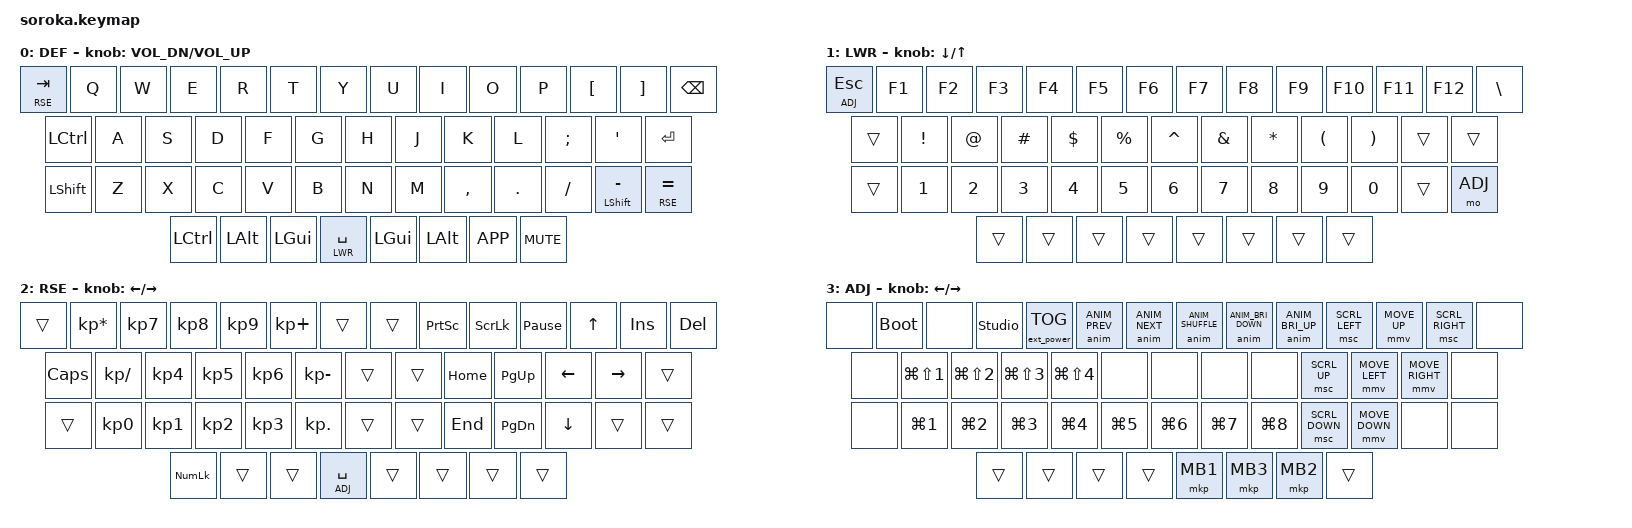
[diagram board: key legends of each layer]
/*
 * Copyright (c) 2020 The ZMK Contributors
 *
 * SPDX-License-Identifier: MIT
 */

#define ZMK_POINTING_DEFAULT_MOVE_VAL 1500  // default: 600
#define ZMK_POINTING_DEFAULT_SCRL_VAL 20    // default: 10

#include <behaviors.dtsi>
#include <dt-bindings/zmk/ext_power.h>
#include <dt-bindings/zmk/keys.h>
#include <dt-bindings/zmk/pointing.h>
#include <dt-bindings/soroka/anim.h>

#define DEF 0
#define LWR 1
#define RSE 2
#define ADJ 3

&lt {
    quick-tap-ms = <200>;
};

&mt {
    quick-tap-ms = <200>;
};

&mmv {
    time-to-max-speed-ms = <1000>;
};

&msc {
    time-to-max-speed-ms = <600>;
};

/ {
    chosen {
        zmk,physical-layout = &default_layout;
    };
};

/ {

    keymap {
        compatible = "zmk,keymap";

        default_layer {
            display-name = "DEF";
//┏━━━━━━━━━━━┳━━━━━━━┳━━━━━━━┳━━━━━━━┳━━━━━━━┳━━━━━━━┳━━━━━━━┳━━━━━━━┳━━━━━━━┳━━━━━━━┳━━━━━━━┳━━━━━━━┳━━━━━━━┳━━━━━━━┓
//┃  RS/TAB   ┃   Q   ┃   W   ┃   E   ┃   R   ┃   T   ┃   Y   ┃   U   ┃   I   ┃   O   ┃   P   ┃   [   ┃   ]   ┃ BSPC  ┃
//┣━━━━━━━━━━━┻━┳━━━━━┻━┳━━━━━┻━┳━━━━━┻━┳━━━━━┻━┳━━━━━┻━┳━━━━━┻━┳━━━━━┻━┳━━━━━┻━┳━━━━━┻━┳━━━━━┻━┳━━━━━┻━┳━━━━━┻━━━━━━━┫
//┃    CTRL     ┃   A   ┃   S   ┃   D   ┃   F   ┃   G   ┃   H   ┃   J   ┃   K   ┃   L   ┃   ;   ┃   '   ┃    ENTER    ┃
//┣━━━━━━━━━━━━━┻━━━┳━━━┻━━━┳━━━┻━━━┳━━━┻━━━┳━━━┻━━━┳━━━┻━━━┳━━━┻━━━┳━━━┻━━━┳━━━┻━━━┳━━━┻━━━┳━━━┻━━━┳━━━┻━━━━━┳━━━━━━━┫
//┃      SHIFT      ┃   Z   ┃   X   ┃   C   ┃   V   ┃   B   ┃   N   ┃   M   ┃   ,   ┃   .   ┃   /   ┃  SH/-   ┃ RS/=  ┃
//┣━━━━━━━━━┳━━━━━━━┻━┳━━━━━┻━━━┳━━━┻━━━━━━━┻━━━━━━━┻━━━━━━━┻━━━━━━━┻━━━━━━━┻━━━━━━━┻━━━┳━━━┻━━━━━┳━┻━━━━━━━┳━┻━━━━━━━┫   ┏━━━━━━━┓
//┃  CTRL   ┃   ALT   ┃   GUI   ┃                        LW/SPC                         ┃   GUI   ┃   ALT   ┃  MENU   ┃   ┃ MUTE  ┃
//┗━━━━━━━━━┻━━━━━━━━━┻━━━━━━━━━┻━━━━━━━━━━━━━━━━━━━━━━━━━━━━━━━━━━━━━━━━━━━━━━━━━━━━━━━┻━━━━━━━━━┻━━━━━━━━━┻━━━━━━━━━┛   ┗━━━━━━━┛

            bindings = <

                &lt RSE TAB &kp Q &kp W &kp E &kp R &kp T &kp Y &kp U &kp I &kp O &kp P &kp LBKT &kp RBKT &kp BSPC
                &kp LCTRL &kp A &kp S &kp D &kp F &kp G &kp H &kp J &kp K &kp L &kp SCLN &kp QUOT &kp ENTER
                &kp LSHFT &kp Z &kp X &kp C &kp V &kp B &kp N &kp M &kp COMMA &kp DOT &kp FSLH &mt LSHFT MINUS &lt RSE EQUAL
                &kp LCTRL &kp LALT &kp LGUI &lt LWR SPACE &kp LGUI &kp LALT &kp K_APP &kp C_MUTE
            >;
            sensor-bindings = <&inc_dec_kp C_VOL_DN C_VOL_UP>;
        };

        lower_layer {
            display-name = "LWR";
//┏━━━━━━━━━━━┳━━━━━━━┳━━━━━━━┳━━━━━━━┳━━━━━━━┳━━━━━━━┳━━━━━━━┳━━━━━━━┳━━━━━━━┳━━━━━━━┳━━━━━━━┳━━━━━━━┳━━━━━━━┳━━━━━━━┓
//┃  AD/ESC   ┃  F1   ┃  F2   ┃  F3   ┃  F4   ┃  F5   ┃  F6   ┃  F7   ┃  F8   ┃  F9   ┃  F10  ┃  F11  ┃  F12  ┃   \   ┃
//┣━━━━━━━━━━━┻━┳━━━━━┻━┳━━━━━┻━┳━━━━━┻━┳━━━━━┻━┳━━━━━┻━┳━━━━━┻━┳━━━━━┻━┳━━━━━┻━┳━━━━━┻━┳━━━━━┻━┳━━━━━┻━┳━━━━━┻━━━━━━━┫
//┃    -//-     ┃   !   ┃   @   ┃   #   ┃   $   ┃   %   ┃   ^   ┃   &   ┃   *   ┃   (   ┃   )   ┃ -//-  ┃    -//-     ┃
//┣━━━━━━━━━━━━━┻━━━┳━━━┻━━━┳━━━┻━━━┳━━━┻━━━┳━━━┻━━━┳━━━┻━━━┳━━━┻━━━┳━━━┻━━━┳━━━┻━━━┳━━━┻━━━┳━━━┻━━━┳━━━┻━━━━━┳━━━━━━━┫
//┃      -//-       ┃   1   ┃   2   ┃   3   ┃   4   ┃   5   ┃   6   ┃   7   ┃   8   ┃   9   ┃   0   ┃  -//-   ┃  ADJ  ┃
//┣━━━━━━━━━┳━━━━━━━┻━┳━━━━━┻━━━┳━━━┻━━━━━━━┻━━━━━━━┻━━━━━━━┻━━━━━━━┻━━━━━━━┻━━━━━━━┻━━━┳━━━┻━━━━━┳━┻━━━━━━━┳━┻━━━━━━━┫   ┏━━━━━━━┓
//┃  -//-   ┃  -//-   ┃  -//-   ┃                         -//-                          ┃  -//-   ┃  -//-   ┃  -//-   ┃   ┃ -//-  ┃
//┗━━━━━━━━━┻━━━━━━━━━┻━━━━━━━━━┻━━━━━━━━━━━━━━━━━━━━━━━━━━━━━━━━━━━━━━━━━━━━━━━━━━━━━━━┻━━━━━━━━━┻━━━━━━━━━┻━━━━━━━━━┛   ┗━━━━━━━┛

            bindings = <

                &lt ADJ ESC &kp F1 &kp F2 &kp F3 &kp F4 &kp F5 &kp F6 &kp F7 &kp F8 &kp F9 &kp F10 &kp F11 &kp F12 &kp BSLH
                &trans &kp EXCL &kp AT &kp HASH &kp DLLR &kp PRCNT &kp CARET &kp AMPS &kp ASTRK &kp LPAR &kp RPAR &trans &trans
                &trans &kp N1 &kp N2 &kp N3 &kp N4 &kp N5 &kp N6 &kp N7 &kp N8 &kp N9 &kp N0 &trans &mo ADJ
                &trans &trans &trans &trans &trans &trans &trans &trans
            >;
            sensor-bindings = <&inc_dec_kp DOWN UP>;
        };

        raise_layer {
            display-name = "RSE";
//┏━━━━━━━━━━━┳━━━━━━━┳━━━━━━━┳━━━━━━━┳━━━━━━━┳━━━━━━━┳━━━━━━━┳━━━━━━━┳━━━━━━━┳━━━━━━━┳━━━━━━━┳━━━━━━━┳━━━━━━━┳━━━━━━━┓
//┃   -//-    ┃ KP *  ┃ KP 7  ┃ KP 8  ┃ KP 9  ┃ KP +  ┃ -//-  ┃ -//-  ┃PRT SC ┃SCRLCK ┃ PAUSE ┃  UP   ┃  INS  ┃  DEL  ┃
//┣━━━━━━━━━━━┻━┳━━━━━┻━┳━━━━━┻━┳━━━━━┻━┳━━━━━┻━┳━━━━━┻━┳━━━━━┻━┳━━━━━┻━┳━━━━━┻━┳━━━━━┻━┳━━━━━┻━┳━━━━━┻━┳━━━━━┻━━━━━━━┫
//┃    CAPS     ┃ KP /  ┃ KP 4  ┃ KP 5  ┃ KP 6  ┃ KP -  ┃ -//-  ┃ -//-  ┃ HOME  ┃ P UP  ┃ LEFT  ┃ RIGHT ┃    -//-     ┃
//┣━━━━━━━━━━━━━┻━━━┳━━━┻━━━┳━━━┻━━━┳━━━┻━━━┳━━━┻━━━┳━━━┻━━━┳━━━┻━━━┳━━━┻━━━┳━━━┻━━━┳━━━┻━━━┳━━━┻━━━┳━━━┻━━━━━┳━━━━━━━┫
//┃      -//-       ┃ KP 0  ┃ KP 1  ┃ KP 2  ┃ KP 3  ┃ KP .  ┃ -//-  ┃ -//-  ┃  END  ┃P DOWN ┃ DOWN  ┃  -//-   ┃ -//-  ┃
//┣━━━━━━━━━┳━━━━━━━┻━┳━━━━━┻━━━┳━━━┻━━━━━━━┻━━━━━━━┻━━━━━━━┻━━━━━━━┻━━━━━━━┻━━━━━━━┻━━━┳━━━┻━━━━━┳━┻━━━━━━━┳━┻━━━━━━━┫   ┏━━━━━━━┓
//┃ NUMLCK  ┃  -//-   ┃  -//-   ┃                        AD/SPC                         ┃  -//-   ┃  -//-   ┃  -//-   ┃   ┃ -//-  ┃
//┗━━━━━━━━━┻━━━━━━━━━┻━━━━━━━━━┻━━━━━━━━━━━━━━━━━━━━━━━━━━━━━━━━━━━━━━━━━━━━━━━━━━━━━━━┻━━━━━━━━━┻━━━━━━━━━┻━━━━━━━━━┛   ┗━━━━━━━┛

            bindings = <

                &trans &kp KP_MULTIPLY &kp KP_N7 &kp KP_N8 &kp KP_N9 &kp KP_PLUS &trans &trans &kp PSCRN &kp SLCK &kp PAUSE_BREAK &kp UP &kp INS &kp DEL
                &kp CAPS &kp KP_DIVIDE &kp KP_N4 &kp KP_N5 &kp KP_N6 &kp KP_MINUS &trans &trans &kp HOME &kp PG_UP &kp LEFT &kp RIGHT &trans
                &trans &kp KP_N0 &kp KP_N1 &kp KP_N2 &kp KP_N3 &kp KP_DOT &trans &trans &kp END &kp PG_DN &kp DOWN &trans &trans
                &kp KP_NLCK &trans &trans &lt ADJ SPACE &trans &trans &trans &trans
            >;
            sensor-bindings = <&inc_dec_kp LEFT RIGHT>;
        };

        adjust_layer {
            display-name = "ADJ";
//┏━━━━━━━━━━━┳━━━━━━━┳━━━━━━━┳━━━━━━━┳━━━━━━━┳━━━━━━━┳━━━━━━━┳━━━━━━━┳━━━━━━━┳━━━━━━━┳━━━━━━━┳━━━━━━━┳━━━━━━━┳━━━━━━━┓
//┃           ┃ BTLDR ┃       ┃ STUD  ┃ledTOG ┃A PREV ┃A NEXT ┃ A RND ┃ BRI - ┃ BRI + ┃MS W L ┃ MS UP ┃MS W R ┃       ┃
//┣━━━━━━━━━━━┻━┳━━━━━┻━┳━━━━━┻━┳━━━━━┻━┳━━━━━┻━┳━━━━━┻━┳━━━━━┻━┳━━━━━┻━┳━━━━━┻━┳━━━━━┻━┳━━━━━┻━┳━━━━━┻━┳━━━━━┻━━━━━━━┫
//┃             ┃ GS 1  ┃ GS 2  ┃ GS 3  ┃ GS 4  ┃       ┃       ┃       ┃       ┃MS W U ┃MS LFT ┃MS RGT ┃             ┃
//┣━━━━━━━━━━━━━┻━━━┳━━━┻━━━┳━━━┻━━━┳━━━┻━━━┳━━━┻━━━┳━━━┻━━━┳━━━┻━━━┳━━━┻━━━┳━━━┻━━━┳━━━┻━━━┳━━━┻━━━┳━━━┻━━━━━┳━━━━━━━┫
//┃                 ┃ GUI 1 ┃ GUI 2 ┃ GUI 3 ┃ GUI 4 ┃ GUI 5 ┃ GUI 6 ┃ GUI 7 ┃ GUI 8 ┃MS W D ┃ MS DN ┃         ┃       ┃
//┣━━━━━━━━━┳━━━━━━━┻━┳━━━━━┻━━━┳━━━┻━━━━━━━┻━━━━━━━┻━━━━━━━┻━━━━━━━┻━━━━━━━┻━━━━━━━┻━━━┳━━━┻━━━━━┳━┻━━━━━━━┳━┻━━━━━━━┫   ┏━━━━━━━┓
//┃  -//-   ┃  -//-   ┃  -//-   ┃                         -//-                          ┃ lftCLK  ┃ mdlCLK  ┃ rgtCLK  ┃   ┃ -//-  ┃
//┗━━━━━━━━━┻━━━━━━━━━┻━━━━━━━━━┻━━━━━━━━━━━━━━━━━━━━━━━━━━━━━━━━━━━━━━━━━━━━━━━━━━━━━━━┻━━━━━━━━━┻━━━━━━━━━┻━━━━━━━━━┛   ┗━━━━━━━┛

            bindings = <

                &none &bootloader &none &studio_unlock &ext_power EP_TOG &anim ANIM_PREV &anim ANIM_NEXT &anim ANIM_SHUFFLE &anim ANIM_BRI_DOWN &anim ANIM_BRI_UP &msc SCRL_LEFT &mmv MOVE_UP &msc SCRL_RIGHT &none
                &none &kp LG(LS(N1)) &kp LG(LS(N2)) &kp LG(LS(N3)) &kp LG(LS(N4)) &none &none &none &none &msc SCRL_UP &mmv MOVE_LEFT &mmv MOVE_RIGHT &none
                &none &kp LG(N1) &kp LG(N2) &kp LG(N3) &kp LG(N4) &kp LG(N5) &kp LG(N6) &kp LG(N7) &kp LG(N8) &msc SCRL_DOWN &mmv MOVE_DOWN &none &none
                &trans &trans &trans &trans &mkp MB1 &mkp MB3 &mkp MB2 &trans
            >;
            sensor-bindings = <&inc_dec_kp LEFT RIGHT>;
        };
    };
};
